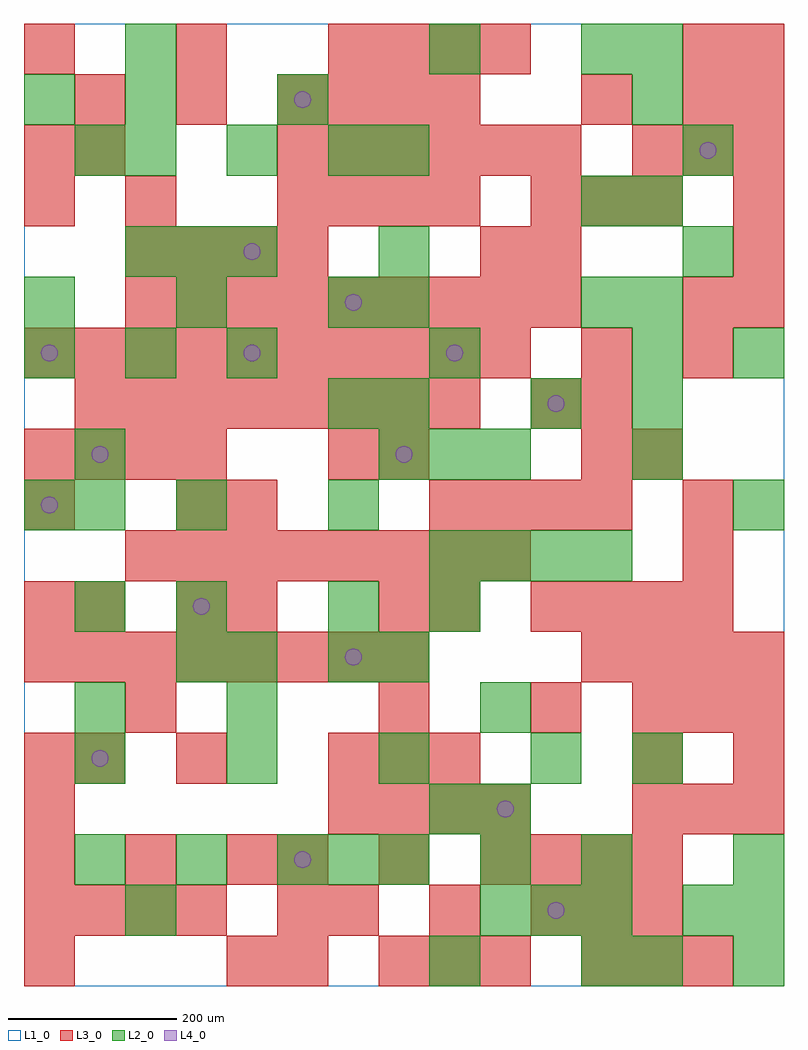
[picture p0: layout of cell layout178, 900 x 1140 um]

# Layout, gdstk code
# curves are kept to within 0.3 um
import gdstk
lib = gdstk.Library(unit=1e-6, precision=1e-09)
def R(c, l, rs):  # rectangles x0, y0, x1, y1
    for r in rs: c.add(gdstk.rectangle(r[:2], r[2:], *l))
def A(c, l, x, y, w, h, nx, ny, dx, dy):  # array of equal rectangles
    R(c, l, [(x+i*dx, y+j*dy, x+i*dx+w, y+j*dy+h) for i in range(nx) for j in range(ny)])
def P(c, l, *ps):  # polygons
    for p in ps: c.add(gdstk.Polygon(p, *l))
L1_0 = (1, 0)
L2_0 = (2, 0)
L3_0 = (3, 0)
L4_0 = (4, 0)

layout178 = lib.new_cell('layout178')
R(layout178, L1_0, [(0,0,900,1140)])
A(layout178, L2_0, 840, 0, 60, 60, 1, 3, 0, 60)
A(layout178, L2_0, 540, 60, 60, 60, 3, 1, 60, 0)
A(layout178, L2_0, 60, 120, 60, 60, 3, 1, 120, 0)
A(layout178, L2_0, 420, 120, 60, 60, 3, 1, 120, 0)
A(layout178, L2_0, 60, 240, 60, 60, 4, 1, 180, 0)
A(layout178, L2_0, 60, 300, 60, 60, 1, 3, 0, 120)
A(layout178, L2_0, 360, 420, 60, 60, 1, 3, 0, 120)
A(layout178, L2_0, 480, 480, 60, 60, 4, 1, 60, 0)
A(layout178, L2_0, 420, 600, 60, 60, 3, 1, 60, 0)
A(layout178, L2_0, 720, 600, 60, 60, 1, 4, 0, 60)
A(layout178, L2_0, 0, 720, 60, 60, 3, 1, 120, 0)
A(layout178, L2_0, 0, 780, 60, 60, 3, 1, 180, 0)
A(layout178, L2_0, 120, 840, 60, 60, 3, 1, 60, 0)
A(layout178, L2_0, 120, 960, 60, 60, 3, 1, 120, 0)
R(layout178, L2_0, [(480,0,540,60), (660,0,720,60), (720,0,780,60), (120,60,180,120), (780,60,840,120), (360,120,420,180), (480,180,540,240), (540,180,600,240), (720,240,780,300), (240,300,300,360), (540,300,600,360), (180,360,240,420), (240,360,300,420), (360,360,420,420), (420,360,480,420), (180,420,240,480), (480,420,540,480), (0,540,60,600), (180,540,240,600), (840,540,900,600), (60,600,120,660), (420,660,480,720), (600,660,660,720), (480,720,540,780), (840,720,900,780), (420,780,480,840), (660,780,720,840), (420,840,480,900), (780,840,840,900), (660,900,720,960), (720,900,780,960), (60,960,120,1020), (420,960,480,1020), (780,960,840,1020), (0,1020,60,1080), (120,1020,180,1080), (300,1020,360,1080), (720,1020,780,1080), (120,1080,180,1140), (480,1080,540,1140), (660,1080,720,1140), (720,1080,780,1140)])
A(layout178, L3_0, 420, 0, 60, 60, 3, 2, 60, 1080)
A(layout178, L3_0, 660, 0, 60, 60, 3, 1, 60, 0)
A(layout178, L3_0, 0, 60, 60, 60, 4, 2, 60, 540)
A(layout178, L3_0, 360, 60, 60, 60, 3, 1, 120, 0)
A(layout178, L3_0, 0, 120, 60, 60, 3, 1, 120, 0)
A(layout178, L3_0, 300, 120, 60, 60, 3, 1, 120, 0)
A(layout178, L3_0, 600, 120, 60, 60, 3, 2, 60, 780)
A(layout178, L3_0, 360, 180, 60, 60, 4, 1, 60, 0)
A(layout178, L3_0, 720, 180, 60, 60, 3, 2, 60, 120)
A(layout178, L3_0, 360, 240, 60, 60, 3, 2, 60, 780)
A(layout178, L3_0, 0, 360, 60, 60, 8, 1, 60, 0)
A(layout178, L3_0, 660, 360, 60, 60, 4, 1, 60, 0)
A(layout178, L3_0, 600, 420, 60, 60, 4, 1, 60, 0)
A(layout178, L3_0, 120, 480, 60, 60, 8, 1, 60, 0)
A(layout178, L3_0, 480, 540, 60, 60, 4, 1, 60, 0)
A(layout178, L3_0, 660, 600, 60, 60, 1, 3, 0, 60)
A(layout178, L3_0, 60, 660, 60, 60, 8, 1, 60, 0)
A(layout178, L3_0, 0, 720, 60, 60, 10, 1, 60, 0)
A(layout178, L3_0, 120, 780, 60, 60, 9, 1, 60, 0)
A(layout178, L3_0, 840, 780, 60, 60, 1, 3, 0, 60)
A(layout178, L3_0, 120, 840, 60, 60, 4, 1, 60, 0)
A(layout178, L3_0, 300, 900, 60, 60, 4, 1, 60, 0)
A(layout178, L3_0, 300, 960, 60, 60, 6, 1, 60, 0)
A(layout178, L3_0, 720, 960, 60, 60, 3, 1, 60, 0)
A(layout178, L3_0, 60, 1020, 60, 60, 3, 1, 120, 0)
A(layout178, L3_0, 0, 1080, 60, 60, 3, 1, 180, 0)
R(layout178, L3_0, [(0,0,60,60), (240,0,300,60), (300,0,360,60), (300,60,360,120), (660,60,720,120), (720,60,780,120), (0,180,60,240), (0,240,60,300), (60,240,120,300), (180,240,240,300), (720,240,780,300), (840,240,900,300), (120,300,180,360), (420,300,480,360), (600,300,660,360), (0,420,60,480), (60,420,120,480), (180,420,240,480), (240,420,300,480), (420,420,480,480), (480,420,540,480), (780,480,840,540), (0,540,60,600), (180,540,240,600), (240,540,300,600), (780,540,840,600), (360,600,420,660), (420,600,480,660), (720,600,780,660), (600,660,660,720), (780,720,840,780), (780,780,840,840), (540,840,600,900), (600,840,660,900), (0,900,60,960), (120,900,180,960), (0,960,60,1020), (60,960,120,1020), (660,1020,720,1080), (780,1020,840,1080), (840,1020,900,1080), (780,1080,840,1140), (840,1080,900,1140)])
P(layout178, L4_0, [(40,570),(39.239,573.827),(37.071,577.071),(33.827,579.239),(30,580),(26.173,579.239),(22.929,577.071),(20.761,573.827),(20,570),(20.761,566.173),(22.929,562.929),(26.173,560.761),(30,560),(33.827,560.761),(37.071,562.929),(39.239,566.173)],
  [(40,750),(39.239,753.827),(37.071,757.071),(33.827,759.239),(30,760),(26.173,759.239),(22.929,757.071),(20.761,753.827),(20,750),(20.761,746.173),(22.929,742.929),(26.173,740.761),(30,740),(33.827,740.761),(37.071,742.929),(39.239,746.173)],
  [(100,270),(99.239,273.827),(97.071,277.071),(93.827,279.239),(90,280),(86.173,279.239),(82.929,277.071),(80.761,273.827),(80,270),(80.761,266.173),(82.929,262.929),(86.173,260.761),(90,260),(93.827,260.761),(97.071,262.929),(99.239,266.173)],
  [(100,630),(99.239,633.827),(97.071,637.071),(93.827,639.239),(90,640),(86.173,639.239),(82.929,637.071),(80.761,633.827),(80,630),(80.761,626.173),(82.929,622.929),(86.173,620.761),(90,620),(93.827,620.761),(97.071,622.929),(99.239,626.173)],
  [(220,450),(219.239,453.827),(217.071,457.071),(213.827,459.239),(210,460),(206.173,459.239),(202.929,457.071),(200.761,453.827),(200,450),(200.761,446.173),(202.929,442.929),(206.173,440.761),(210,440),(213.827,440.761),(217.071,442.929),(219.239,446.173)],
  [(280,750),(279.239,753.827),(277.071,757.071),(273.827,759.239),(270,760),(266.173,759.239),(262.929,757.071),(260.761,753.827),(260,750),(260.761,746.173),(262.929,742.929),(266.173,740.761),(270,740),(273.827,740.761),(277.071,742.929),(279.239,746.173)],
  [(280,870),(279.239,873.827),(277.071,877.071),(273.827,879.239),(270,880),(266.173,879.239),(262.929,877.071),(260.761,873.827),(260,870),(260.761,866.173),(262.929,862.929),(266.173,860.761),(270,860),(273.827,860.761),(277.071,862.929),(279.239,866.173)],
  [(340,150),(339.239,153.827),(337.071,157.071),(333.827,159.239),(330,160),(326.173,159.239),(322.929,157.071),(320.761,153.827),(320,150),(320.761,146.173),(322.929,142.929),(326.173,140.761),(330,140),(333.827,140.761),(337.071,142.929),(339.239,146.173)],
  [(340,1050),(339.239,1053.827),(337.071,1057.071),(333.827,1059.239),(330,1060),(326.173,1059.239),(322.929,1057.071),(320.761,1053.827),(320,1050),(320.761,1046.173),(322.929,1042.929),(326.173,1040.761),(330,1040),(333.827,1040.761),(337.071,1042.929),(339.239,1046.173)],
  [(400,390),(399.239,393.827),(397.071,397.071),(393.827,399.239),(390,400),(386.173,399.239),(382.929,397.071),(380.761,393.827),(380,390),(380.761,386.173),(382.929,382.929),(386.173,380.761),(390,380),(393.827,380.761),(397.071,382.929),(399.239,386.173)],
  [(400,810),(399.239,813.827),(397.071,817.071),(393.827,819.239),(390,820),(386.173,819.239),(382.929,817.071),(380.761,813.827),(380,810),(380.761,806.173),(382.929,802.929),(386.173,800.761),(390,800),(393.827,800.761),(397.071,802.929),(399.239,806.173)],
  [(460,630),(459.239,633.827),(457.071,637.071),(453.827,639.239),(450,640),(446.173,639.239),(442.929,637.071),(440.761,633.827),(440,630),(440.761,626.173),(442.929,622.929),(446.173,620.761),(450,620),(453.827,620.761),(457.071,622.929),(459.239,626.173)],
  [(520,750),(519.239,753.827),(517.071,757.071),(513.827,759.239),(510,760),(506.173,759.239),(502.929,757.071),(500.761,753.827),(500,750),(500.761,746.173),(502.929,742.929),(506.173,740.761),(510,740),(513.827,740.761),(517.071,742.929),(519.239,746.173)],
  [(580,210),(579.239,213.827),(577.071,217.071),(573.827,219.239),(570,220),(566.173,219.239),(562.929,217.071),(560.761,213.827),(560,210),(560.761,206.173),(562.929,202.929),(566.173,200.761),(570,200),(573.827,200.761),(577.071,202.929),(579.239,206.173)],
  [(640,90),(639.239,93.827),(637.071,97.071),(633.827,99.239),(630,100),(626.173,99.239),(622.929,97.071),(620.761,93.827),(620,90),(620.761,86.173),(622.929,82.929),(626.173,80.761),(630,80),(633.827,80.761),(637.071,82.929),(639.239,86.173)],
  [(640,690),(639.239,693.827),(637.071,697.071),(633.827,699.239),(630,700),(626.173,699.239),(622.929,697.071),(620.761,693.827),(620,690),(620.761,686.173),(622.929,682.929),(626.173,680.761),(630,680),(633.827,680.761),(637.071,682.929),(639.239,686.173)],
  [(820,990),(819.239,993.827),(817.071,997.071),(813.827,999.239),(810,1000),(806.173,999.239),(802.929,997.071),(800.761,993.827),(800,990),(800.761,986.173),(802.929,982.929),(806.173,980.761),(810,980),(813.827,980.761),(817.071,982.929),(819.239,986.173)])

lib.write_gds('layout178.gds')
